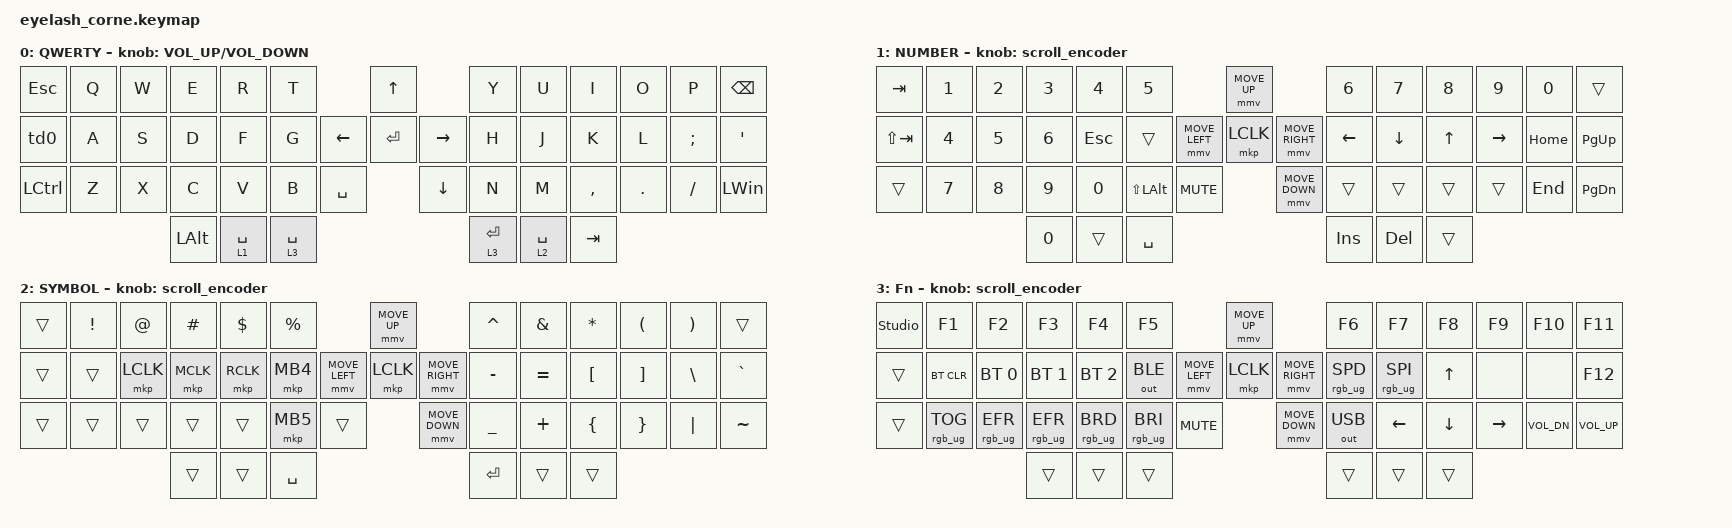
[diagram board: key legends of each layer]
#define ZMK_POINTING_DEFAULT_MOVE_VAL 1200  // 600
#define ZMK_POINTING_DEFAULT_SCRL_VAL 25   // 10

#include <input/processors.dtsi>
#include <zephyr/dt-bindings/input/input-event-codes.h>
#include <behaviors.dtsi>
#include <dt-bindings/zmk/bt.h>
#include <dt-bindings/zmk/keys.h>
#include <dt-bindings/zmk/outputs.h>
#include <dt-bindings/zmk/pointing.h>
#include <dt-bindings/zmk/rgb.h>

&mmv_input_listener { input-processors = <&zip_xy_scaler 2 1>; };

&msc_input_listener { input-processors = <&zip_scroll_scaler 2 1>; };

&msc {
    acceleration-exponent = <1>;      // 0
    time-to-max-speed-ms = <100>;       // 300
    delay-ms = <0>;                   // 0
};

&mmv {
    time-to-max-speed-ms = <500>;
    acceleration-exponent = <1>;
    trigger-period-ms = <16>;
};

/ {
    behaviors {
        td0: td0 {
            compatible = "zmk,behavior-tap-dance";
            display-name = "Shift/Caps Lock Tap Dance";
            #binding-cells = <0>;
            bindings = <&kp LEFT_SHIFT>, <&kp CAPS>;
        };
    };

    rgb_encoder: rgb_encoder {
        compatible = "zmk,behavior-sensor-rotate";
        #sensor-binding-cells = <0>;
        bindings = <&rgb_ug RGB_BRI>, <&rgb_ug RGB_BRD>;
    };

    scroll_encoder: scroll_encoder {
        compatible = "zmk,behavior-sensor-rotate";
        #sensor-binding-cells = <0>;
        bindings = <&msc SCRL_DOWN>, <&msc SCRL_UP>;

        tap-ms = <100>;
    };

    keymap {
        compatible = "zmk,keymap";

        default_layer {
            display-name = "QWERTY";
            bindings = <
&kp ESC    &kp Q  &kp W  &kp E         &kp R        &kp T                               &kp UP                &kp Y        &kp U        &kp I      &kp O    &kp P     &kp BSPC
&td0       &kp A  &kp S  &kp D         &kp F        &kp G                     &kp LEFT  &kp ENTER  &kp RIGHT  &kp H        &kp J        &kp K      &kp L    &kp SEMI  &kp SQT
&kp LCTRL  &kp Z  &kp X  &kp C         &kp V        &kp B        &kp SPACE              &kp DOWN              &kp N        &kp M        &kp COMMA  &kp DOT  &kp FSLH  &kp LEFT_WIN
                         &kp LEFT_ALT  &lt 1 SPACE  &lt 3 SPACE                                               &lt 3 ENTER  &lt 2 SPACE  &kp TAB
            >;

            sensor-bindings = <&inc_dec_kp C_VOLUME_UP C_VOLUME_DOWN>;
        };

        lower_layer {
            display-name = "NUMBER";
            bindings = <
&kp TAB      &kp N1  &kp N2  &kp N3  &kp N4   &kp N5                                          &mmv MOVE_UP                     &kp N6    &kp N7    &kp N8  &kp N9     &kp N0    &trans
&kp LS(TAB)  &kp N4  &kp N5  &kp N6  &kp ESC  &trans                          &mmv MOVE_LEFT  &mkp LCLK       &mmv MOVE_RIGHT  &kp LEFT  &kp DOWN  &kp UP  &kp RIGHT  &kp HOME  &kp PG_UP
&trans       &kp N7  &kp N8  &kp N9  &kp N0   &kp LS(LEFT_ALT)  &kp C_MUTE                    &mmv MOVE_DOWN                   &trans    &trans    &trans  &trans     &kp END   &kp PG_DN
                             &kp N0  &trans   &kp SPACE                                                                        &kp INS   &kp DEL   &trans
            >;

            sensor-bindings = <&scroll_encoder>;
        };

        raise_layer {
            display-name = "SYMBOL";
            bindings = <
&trans  &kp EXCL  &kp AT     &kp HASH   &kp DLLR   &kp PRCNT                            &mmv MOVE_UP                     &kp CARET  &kp AMPS   &kp ASTRK  &kp LPAR  &kp RPAR  &trans
&trans  &trans    &mkp LCLK  &mkp MCLK  &mkp RCLK  &mkp MB4             &mmv MOVE_LEFT  &mkp LCLK       &mmv MOVE_RIGHT  &kp MINUS  &kp EQUAL  &kp LBKT   &kp RBKT  &kp BSLH  &kp GRAVE
&trans  &trans    &trans     &trans     &trans     &mkp MB5   &trans                    &mmv MOVE_DOWN                   &kp UNDER  &kp PLUS   &kp LBRC   &kp RBRC  &kp PIPE  &kp TILDE
                             &trans     &trans     &kp SPACE                                                             &kp RET    &trans     &trans
            >;

            sensor-bindings = <&scroll_encoder>;
        };

        layer_3 {
            display-name = "Fn";
            bindings = <
&studio_unlock  &kp F1           &kp F2           &kp F3           &kp F4           &kp F5                                         &mmv MOVE_UP                     &kp F6           &kp F7           &kp F8    &kp F9     &kp F10       &kp F11
&trans          &bt BT_CLR       &bt BT_SEL 0     &bt BT_SEL 1     &bt BT_SEL 2     &out OUT_BLE                   &mmv MOVE_LEFT  &mkp LCLK       &mmv MOVE_RIGHT  &rgb_ug RGB_SPD  &rgb_ug RGB_SPI  &kp UP    &none      &none         &kp F12
&trans          &rgb_ug RGB_TOG  &rgb_ug RGB_EFR  &rgb_ug RGB_EFR  &rgb_ug RGB_BRD  &rgb_ug RGB_BRI  &kp C_MUTE                    &mmv MOVE_DOWN                   &out OUT_USB     &kp LEFT         &kp DOWN  &kp RIGHT  &kp C_VOL_DN  &kp C_VOLUME_UP
                                                  &trans           &trans           &trans                                                                          &trans           &trans           &trans
            >;

            sensor-bindings = <&scroll_encoder>;
        };
    };
};
